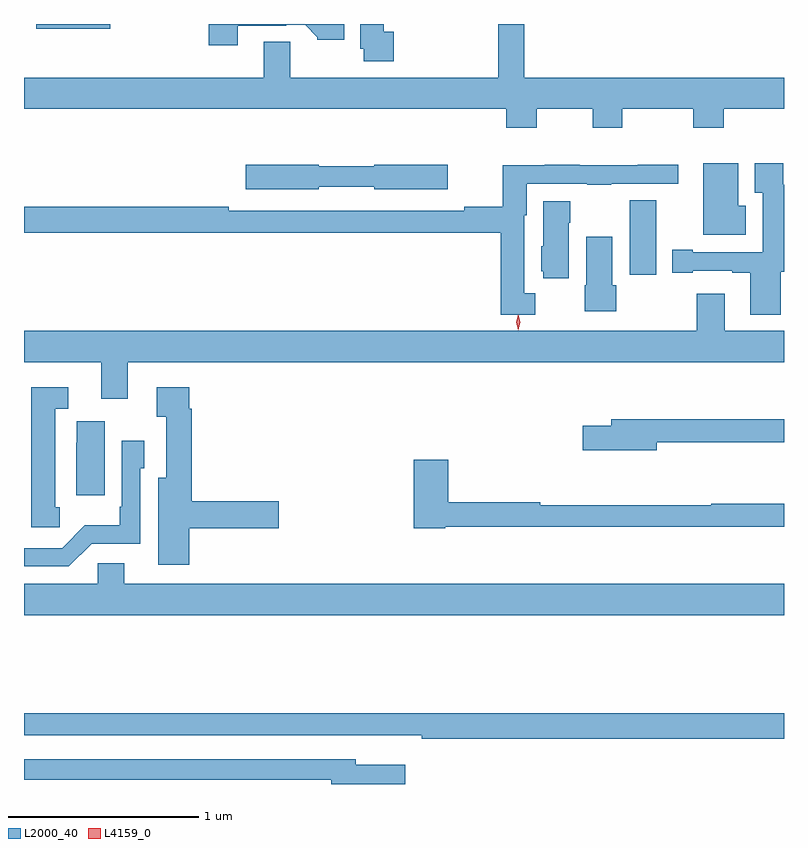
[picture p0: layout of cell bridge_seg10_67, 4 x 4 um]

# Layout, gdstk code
import gdstk
lib = gdstk.Library(unit=1e-6, precision=1e-09)
def R(c, l, rs):  # rectangles x0, y0, x1, y1
    for r in rs: c.add(gdstk.rectangle(r[:2], r[2:], *l))
def P(c, l, *ps):  # polygons
    for p in ps: c.add(gdstk.Polygon(p, *l))
L2000_40 = (2000, 40)
L4159_0 = (4159, 0)

bridge_seg10_67 = lib.new_cell('bridge_seg10_67')
R(bridge_seg10_67, L2000_40, [(783.851,1315.428,783.991,1315.82), (780.728,1316.723,781.117,1316.747)])
P(bridge_seg10_67, L2000_40, [(783.363,1316.3),(783.658,1316.3),(783.658,1316.201),(783.813,1316.201),(783.813,1316.3),(784.186,1316.3),(784.186,1316.201),(784.346,1316.201),(784.346,1316.3),(784.664,1316.3),(784.664,1316.464),(783.296,1316.464),(783.296,1316.747),(783.16,1316.747),(783.16,1316.464),(782.065,1316.464),(782.065,1316.654),(781.925,1316.654),(781.925,1316.464),(780.664,1316.464),(780.664,1316.3),(783.203,1316.3),(783.203,1316.201),(783.363,1316.201)],
  [(782.609,1316.706),(782.557,1316.706),(782.557,1316.747),(782.435,1316.747),(782.435,1316.616),(782.452,1316.616),(782.452,1316.55),(782.609,1316.55)],
  [(781.789,1316.739),(782.045,1316.739),(782.045,1316.742),(782.144,1316.742),(782.208,1316.678),(782.208,1316.663),(782.35,1316.663),(782.35,1316.747),(781.637,1316.747),(781.637,1316.634),(781.789,1316.634)],
  [(784.462,1315.79),(784.423,1315.79),(784.423,1316.014),(784.238,1316.014),(784.238,1315.637),(784.462,1315.637)],
  [(784.648,1315.442),(784.664,1315.442),(784.664,1315.901),(784.66,1315.901),(784.66,1316.014),(784.511,1316.014),(784.511,1315.858),(784.551,1315.858),(784.551,1315.545),(784.183,1315.545),(784.183,1315.558),(784.076,1315.558),(784.076,1315.437),(784.183,1315.437),(784.183,1315.449),(784.391,1315.449),(784.391,1315.437),(784.487,1315.437),(784.487,1315.218),(784.648,1315.218)],
  [(782.214,1315.89),(782.508,1315.89),(782.508,1315.877),(782.893,1315.877),(782.893,1316.007),(782.508,1316.007),(782.508,1315.999),(782.214,1315.999),(782.214,1316.007),(781.83,1316.007),(781.83,1315.877),(782.214,1315.877)],
  [(783.355,1315.33),(783.298,1315.33),(783.298,1315.74),(783.31,1315.74),(783.31,1315.905),(783.628,1315.905),(783.628,1315.9),(783.755,1315.9),(783.755,1315.905),(784.108,1315.905),(784.108,1316.006),(783.895,1316.006),(783.895,1316.003),(783.589,1316.003),(783.589,1316.006),(783.406,1316.006),(783.406,1316.003),(783.185,1316.003),(783.185,1315.784),(782.98,1315.784),(782.98,1315.764),(781.742,1315.764),(781.742,1315.784),(780.664,1315.784),(780.664,1315.648),(783.173,1315.648),(783.173,1315.217),(783.355,1315.217)],
  [(783.532,1315.7),(783.54,1315.7),(783.54,1315.813),(783.398,1315.813),(783.398,1315.578),(783.386,1315.578),(783.386,1315.446),(783.398,1315.446),(783.398,1315.409),(783.532,1315.409)],
  [(783.78,1315.371),(783.76,1315.371),(783.76,1315.627),(783.623,1315.627),(783.623,1315.371),(783.614,1315.371),(783.614,1315.235),(783.78,1315.235)],
  [(781.21,1314.968),(784.664,1314.968),(784.664,1315.132),(784.351,1315.132),(784.351,1315.327),(784.204,1315.327),(784.204,1315.132),(780.664,1315.132),(780.664,1314.968),(781.07,1314.968),(781.07,1314.774),(781.21,1314.774)],
  [(781.534,1314.094),(782.005,1314.094),(782.005,1314.236),(781.547,1314.236),(781.547,1314.722),(781.534,1314.722),(781.534,1314.835),(781.362,1314.835),(781.362,1314.679),(781.412,1314.679),(781.412,1314.358),(781.37,1314.358),(781.37,1313.901),(781.534,1313.901)],
  [(780.851,1314.204),(780.829,1314.204),(780.829,1314.723),(780.898,1314.723),(780.898,1314.835),(780.701,1314.835),(780.701,1314.099),(780.851,1314.099)],
  [(783.994,1314.546),(784.664,1314.546),(784.664,1314.667),(783.755,1314.667),(783.755,1314.633),(783.606,1314.633),(783.606,1314.503),(783.994,1314.503)],
  [(781.09,1314.655),(780.941,1314.655),(780.941,1314.542),(780.938,1314.542),(780.938,1314.266),(781.09,1314.266)],
  [(781.02,1314.012),(781.275,1314.012),(781.275,1314.408),(781.296,1314.408),(781.296,1314.553),(781.179,1314.553),(781.179,1314.205),(781.167,1314.205),(781.167,1314.109),(780.985,1314.109),(780.864,1313.988),(780.664,1313.988),(780.664,1313.892),(780.9,1313.892)],
  [(782.88,1314.102),(784.664,1314.102),(784.664,1314.223),(784.28,1314.223),(784.28,1314.215),(783.38,1314.215),(783.38,1314.23),(782.897,1314.23),(782.897,1314.454),(782.714,1314.454),(782.714,1314.094),(782.88,1314.094)],
  [(784.664,1313.8),(781.192,1313.8),(781.192,1313.91),(781.053,1313.91),(781.053,1313.8),(780.664,1313.8),(780.664,1313.636),(784.664,1313.636)],
  [(784.664,1313.12),(780.664,1313.12),(780.664,1313.004),(782.506,1313.004),(782.506,1313.003),(782.758,1313.003),(782.758,1312.984),(784.664,1312.984)],
  [(782.671,1312.849),(782.41,1312.849),(782.41,1312.878),(780.664,1312.878),(780.664,1312.77),(782.282,1312.77),(782.282,1312.747),(782.671,1312.747)])
P(bridge_seg10_67, L4159_0, [(783.266,1315.135),(783.266,1315.135),(783.256,1315.176),(783.266,1315.217),(783.266,1315.217),(783.266,1315.217),(783.276,1315.176),(783.266,1315.135)])

lib.write_gds('bridge_seg10_67.gds')
